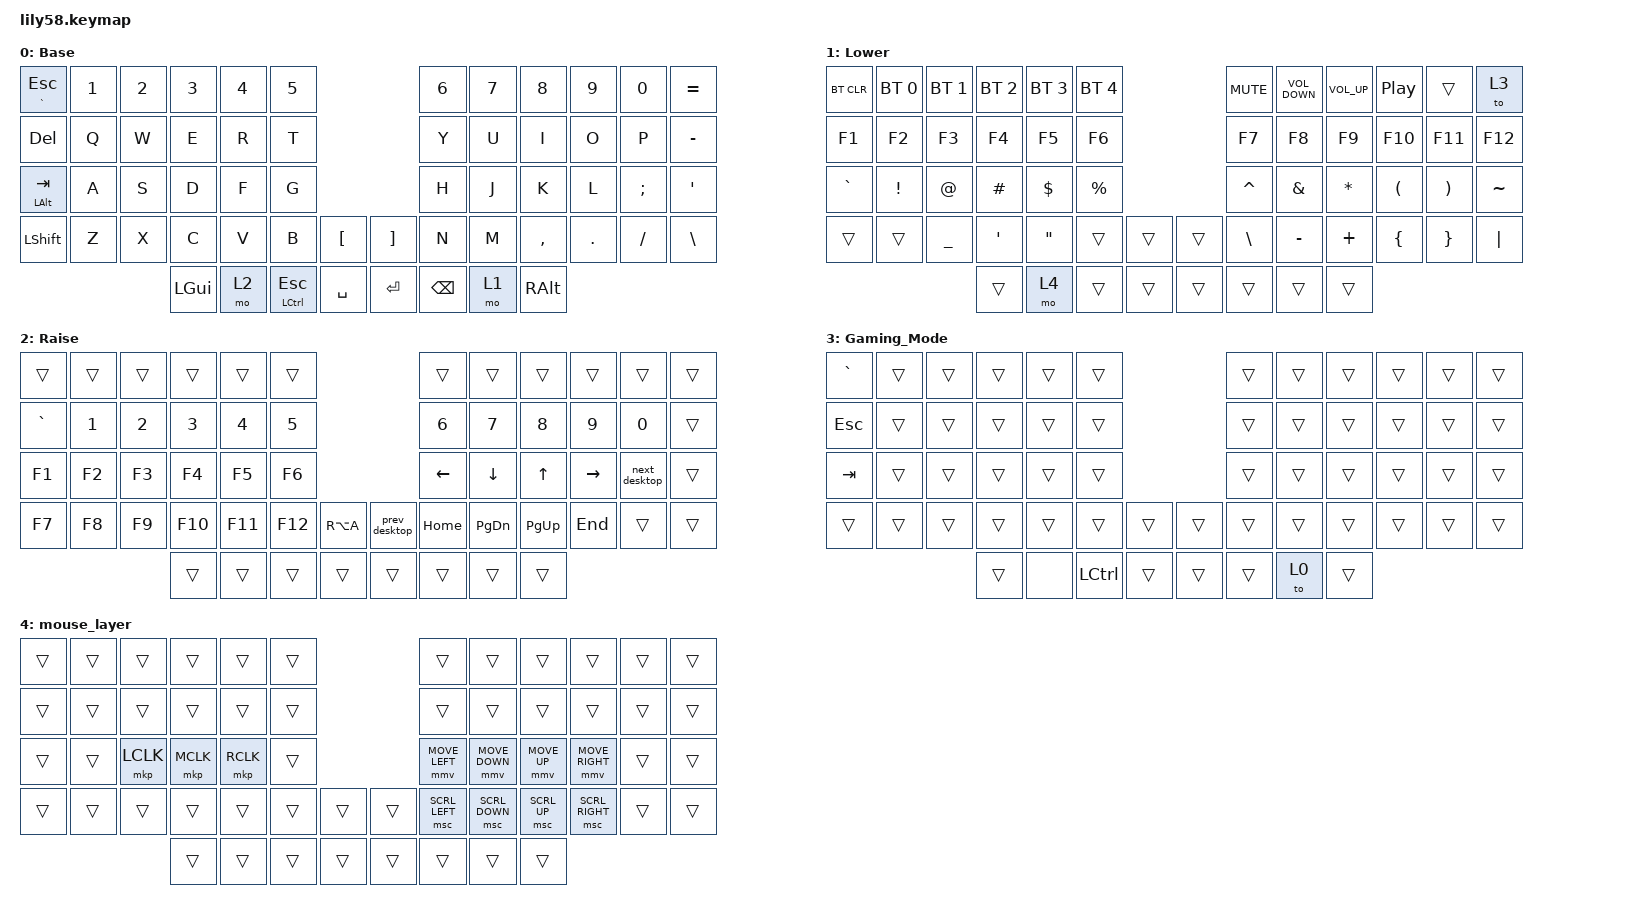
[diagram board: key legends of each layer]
/*
 * Copyright (c) 2020 The ZMK Contributors
 *
 * SPDX-License-Identifier: MIT
 */

#include <behaviors.dtsi>
#include <dt-bindings/zmk/bt.h>
#include <dt-bindings/zmk/keys.h>
#include <dt-bindings/zmk/pointing.h>

&mt { tapping-term-ms = <150>; };

/ {
    macros {
        next_desktop: next_desktop {
            compatible = "zmk,behavior-macro";
            #binding-cells = <0>;
            bindings =
                <&macro_press>,
                <&kp LEFT_GUI &kp LEFT_CONTROL>,
                <&macro_tap>,
                <&kp RIGHT>,
                <&macro_release>,
                <&kp LEFT_GUI &kp LEFT_CONTROL>;

            label = "NEXT_DESKTOP";
        };

        prev_desktop: prev_desktop {
            compatible = "zmk,behavior-macro";
            #binding-cells = <0>;
            bindings =
                <&macro_press>,
                <&kp LEFT_GUI &kp LEFT_CONTROL>,
                <&macro_tap>,
                <&kp LEFT>,
                <&macro_release>,
                <&kp LEFT_GUI &kp LEFT_CONTROL>;

            label = "PREV_DESKTOP";
        };
    };

    keymap {
        compatible = "zmk,keymap";

        default_layer {
            // ------------------------------------------------------------------------------------------------------------
            // |  ESC  |  1  |  2  |  3   |  4   |  5   |                   |  6   |  7    |  8    |  9   |   0   |   `   |
            // |  TAB  |  Q  |  W  |  E   |  R   |  T   |                   |  Y   |  U    |  I    |  O   |   P   |   -   |
            // |  CTRL |  A  |  S  |  D   |  F   |  G   |                   |  H   |  J    |  K    |  L   |   ;   |   '   |
            // | SHIFT |  Z  |  X  |  C   |  V   |  B   |   "["  |  |  "]"  |  N   |  M    |  ,    |  .   |   /   | SHIFT |
            //                     | ALT  | GUI  | LOWER|  SPACE |  | ENTER | RAISE| BSPC  | GUI   |

            display-name = "Base";
            bindings = <
&mt GRAVE ESCAPE  &kp N1  &kp N2  &kp N3    &kp N4  &kp N5                                   &kp N6         &kp N7  &kp N8         &kp N9   &kp N0    &kp EQUAL
&kp DELETE        &kp Q   &kp W   &kp E     &kp R   &kp T                                    &kp Y          &kp U   &kp I          &kp O    &kp P     &kp MINUS
&mt LEFT_ALT TAB  &kp A   &kp S   &kp D     &kp F   &kp G                                    &kp H          &kp J   &kp K          &kp L    &kp SEMI  &kp SQT
&kp LSHFT         &kp Z   &kp X   &kp C     &kp V   &kp B             &kp LBKT     &kp RBKT  &kp N          &kp M   &kp COMMA      &kp DOT  &kp FSLH  &kp BACKSLASH
                                  &kp LGUI  &mo 2   &mt LCTRL ESCAPE  &kp SPACE    &kp RET   &kp BACKSPACE  &mo 1   &kp RIGHT_ALT
            >;
        };

        lower_layer {
            // ------------------------------------------------------------------------------------------------------------
            // | BTCLR | BT1 | BT2 |  BT3 |  BT4 |  BT5 |                   |      |       |       |      |       |       |
            // |  F1   |  F2 |  F3 |  F4  |  F5  |  F6  |                   |  F7  |  F8   |  F9   |  F10 |  F11  |  F12  |
            // |   `   |  !  |  @  |  #   |  $   |  %   |                   |  ^   |  &    |  *    |  (   |   )   |   ~   |
            // |       |     |     |      |      |      |        |  |       |      |  _    |  +    |  {   |   }   |  "|"  |
            //                     |      |      |      |        |  |       |      |       |       |

            display-name = "Lower";
            bindings = <
&bt BT_CLR  &bt BT_SEL 0  &bt BT_SEL 1    &bt BT_SEL 2  &bt BT_SEL 3       &bt BT_SEL 4                    &kp K_MUTE     &kp C_VOLUME_DOWN  &kp C_VOLUME_UP  &kp C_PLAY_PAUSE  &trans    &to 3
&kp F1      &kp F2        &kp F3          &kp F4        &kp F5             &kp F6                          &kp F7         &kp F8             &kp F9           &kp F10           &kp F11   &kp F12
&kp GRAVE   &kp EXCL      &kp AT          &kp HASH      &kp DOLLAR         &kp PRCNT                       &kp CARET      &kp AMPS           &kp ASTERISK     &kp LPAR          &kp RPAR  &kp TILDE
&trans      &trans        &kp UNDERSCORE  &kp SQT       &kp DOUBLE_QUOTES  &trans        &trans    &trans  &kp BACKSLASH  &kp MINUS          &kp PLUS         &kp LBRC          &kp RBRC  &kp PIPE
                                          &trans        &mo 4              &trans        &trans    &trans  &trans         &trans             &trans
            >;
        };

        raise_layer {
            // ------------------------------------------------------------------------------------------------------------
            // |       |     |     |      |      |      |                   |      |       |       |      |       |       |
            // |   `   |  1  |  2  |  3   |  4   |  5   |                   |  6   |   7   |   8   |  9   |   0   |       |
            // |   F1  |  F2 |  F3 |  F4  |  F5  |  F6  |                   |      |   <-  |   v   |  ^   |  ->   |       |
            // |   F7  |  F8 |  F9 |  F10 |  F11 |  F12 |        |  |       |  +   |   -   |   =   |  [   |   ]   |   \   |
            //                     |      |      |      |        |  |       |      |       |       |

            display-name = "Raise";
            bindings = <
&trans     &trans  &trans  &trans   &trans   &trans                               &trans          &trans          &trans        &trans     &trans         &trans
&kp GRAVE  &kp N1  &kp N2  &kp N3   &kp N4   &kp N5                               &kp N6          &kp N7          &kp N8        &kp N9     &kp N0         &trans
&kp F1     &kp F2  &kp F3  &kp F4   &kp F5   &kp F6                               &kp LEFT_ARROW  &kp DOWN_ARROW  &kp UP_ARROW  &kp RIGHT  &next_desktop  &trans
&kp F7     &kp F8  &kp F9  &kp F10  &kp F11  &kp F12  &kp RA(A)    &prev_desktop  &kp HOME        &kp PAGE_DOWN   &kp PAGE_UP   &kp END    &trans         &trans
                           &trans   &trans   &trans   &trans       &trans         &trans          &trans          &trans
            >;
        };

        Gaming_Mode {
            bindings = <
&kp GRAVE   &trans  &trans  &trans  &trans  &trans                       &trans  &trans  &trans  &trans  &trans  &trans
&kp ESCAPE  &trans  &trans  &trans  &trans  &trans                       &trans  &trans  &trans  &trans  &trans  &trans
&kp TAB     &trans  &trans  &trans  &trans  &trans                       &trans  &trans  &trans  &trans  &trans  &trans
&trans      &trans  &trans  &trans  &trans  &trans     &trans    &trans  &trans  &trans  &trans  &trans  &trans  &trans
                            &trans  &none   &kp LCTRL  &trans    &trans  &trans  &to 0   &trans
            >;
        };

        mouse_layer {
            bindings = <
&trans  &trans  &trans     &trans     &trans     &trans                    &trans          &trans          &trans        &trans           &trans  &trans
&trans  &trans  &trans     &trans     &trans     &trans                    &trans          &trans          &trans        &trans           &trans  &trans
&trans  &trans  &mkp LCLK  &mkp MCLK  &mkp RCLK  &trans                    &mmv MOVE_LEFT  &mmv MOVE_DOWN  &mmv MOVE_UP  &mmv MOVE_RIGHT  &trans  &trans
&trans  &trans  &trans     &trans     &trans     &trans  &trans    &trans  &msc SCRL_LEFT  &msc SCRL_DOWN  &msc SCRL_UP  &msc SCRL_RIGHT  &trans  &trans
                           &trans     &trans     &trans  &trans    &trans  &trans          &trans          &trans
            >;
        };
    };
};
